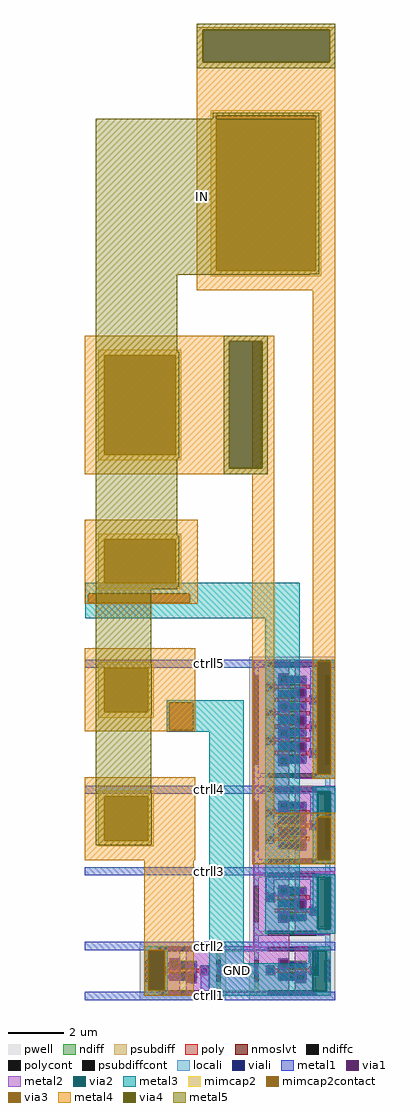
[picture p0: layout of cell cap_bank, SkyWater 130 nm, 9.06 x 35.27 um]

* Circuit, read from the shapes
.subckt cap_bank GND IN ctrll1 ctrll2 ctrll3 ctrll4 ctrll5
XM1 n1 ctrll1 GND GND sky130_fd_pr__nfet_01v8_lvt w=1 l=0.15
XM2 GND ctrll2 n2 GND sky130_fd_pr__nfet_01v8_lvt w=1 l=0.15
XM3 n3 ctrll3 GND GND sky130_fd_pr__nfet_01v8_lvt w=1 l=0.15 m=2
XM4 GND ctrll4 n4 GND sky130_fd_pr__nfet_01v8_lvt w=1 l=0.15 m=3
XM5 n5 ctrll5 GND GND sky130_fd_pr__nfet_01v8_lvt w=1 l=0.15 m=6
XC6 IN n1 sky130_fd_pr__cap_mim_m3_2 w=2 l=2
XC7 IN n2 sky130_fd_pr__cap_mim_m3_2 w=2 l=2
XC8 IN n3 sky130_fd_pr__cap_mim_m3_2 w=3 l=2
XC9 IN n4 sky130_fd_pr__cap_mim_m3_2 w=3 l=4
XC10 IN n5 sky130_fd_pr__cap_mim_m3_2 w=4 l=6
.ends

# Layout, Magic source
magic
tech sky130A
magscale 1 2
<< locali >>
rect 4525 -40 4560 105
rect 5040 -40 5075 105
rect 4525 -660 4560 -515
rect 5040 -655 5075 -510
rect 4525 -1155 4560 -1045
rect 4250 -1190 4560 -1155
rect 5040 -1185 5075 -1040
rect 4250 -1300 4560 -1285
rect 4250 -1340 4335 -1300
rect 4475 -1340 4560 -1300
rect 4250 -1355 4560 -1340
rect 4250 -1505 4560 -1470
<< viali >>
rect 4335 -1340 4475 -1300
<< metal1 >>
rect 3300 860 5110 920
rect 4610 300 4670 860
rect 4700 810 4780 820
rect 4700 750 4710 810
rect 4770 800 4780 810
rect 4770 750 4900 800
rect 4700 740 4780 750
rect 4820 710 4900 720
rect 4820 700 4830 710
rect 4700 650 4830 700
rect 4890 650 4900 710
rect 4820 640 4900 650
rect 4700 610 4780 620
rect 4700 550 4710 610
rect 4770 600 4780 610
rect 4770 560 4900 600
rect 4770 550 4780 560
rect 4700 540 4780 550
rect 4820 510 4900 520
rect 4700 460 4830 510
rect 4820 450 4830 460
rect 4890 450 4900 510
rect 4820 440 4900 450
rect 4700 420 4780 430
rect 4700 360 4710 420
rect 4770 410 4780 420
rect 4770 370 4900 410
rect 4770 360 4780 370
rect 4700 350 4780 360
rect 4820 320 4900 330
rect 4700 270 4830 320
rect 4820 260 4830 270
rect 4890 260 4900 320
rect 4820 250 4900 260
rect 4700 220 4780 230
rect 4700 160 4710 220
rect 4770 170 4900 220
rect 4930 210 4990 860
rect 4770 160 4780 170
rect 4700 150 4780 160
rect 3300 -50 5110 10
rect 4610 -410 4670 -50
rect 4700 -110 4780 -100
rect 4700 -170 4710 -110
rect 4770 -170 4780 -110
rect 4700 -180 4780 -170
rect 4820 -200 4900 -190
rect 4820 -260 4830 -200
rect 4890 -260 4900 -200
rect 4820 -270 4900 -260
rect 4700 -300 4780 -290
rect 4700 -360 4710 -300
rect 4770 -360 4780 -300
rect 4930 -310 4990 -50
rect 4700 -370 4780 -360
rect 4820 -390 4900 -380
rect 4820 -450 4830 -390
rect 4890 -450 4900 -390
rect 4820 -460 4900 -450
rect 3300 -640 5110 -580
rect 4610 -670 4990 -640
rect 4610 -830 4670 -670
rect 4700 -720 4780 -710
rect 4700 -780 4710 -720
rect 4770 -780 4780 -720
rect 4700 -790 4780 -780
rect 4820 -820 4900 -810
rect 4820 -880 4830 -820
rect 4890 -880 4900 -820
rect 4820 -890 4900 -880
rect 4700 -910 4780 -900
rect 4700 -970 4710 -910
rect 4770 -970 4780 -910
rect 4930 -930 4990 -670
rect 4700 -980 4780 -970
rect 3300 -1180 5110 -1120
rect 3910 -1250 3990 -1240
rect 3820 -1360 3880 -1290
rect 3910 -1310 3920 -1250
rect 3980 -1262 3990 -1250
rect 4700 -1250 4780 -1240
rect 3980 -1308 4110 -1262
rect 4320 -1290 4490 -1285
rect 3980 -1310 3990 -1308
rect 3910 -1320 3990 -1310
rect 4030 -1350 4110 -1340
rect 3910 -1396 4040 -1350
rect 4030 -1410 4040 -1396
rect 4100 -1410 4110 -1350
rect 4030 -1420 4110 -1410
rect 4140 -1480 4200 -1290
rect 4320 -1350 4335 -1290
rect 4475 -1350 4490 -1290
rect 4320 -1355 4490 -1350
rect 4610 -1360 4670 -1290
rect 4700 -1310 4710 -1250
rect 4770 -1310 4780 -1250
rect 4700 -1320 4780 -1310
rect 4820 -1350 4900 -1340
rect 4820 -1410 4830 -1350
rect 4890 -1410 4900 -1350
rect 4930 -1360 4990 -1180
rect 4820 -1420 4900 -1410
rect 3300 -1540 5110 -1480
<< via1 >>
rect 4710 750 4770 810
rect 4830 650 4890 710
rect 4710 550 4770 610
rect 4830 450 4890 510
rect 4710 360 4770 420
rect 4830 260 4890 320
rect 4710 160 4770 220
rect 4710 -170 4770 -110
rect 4830 -260 4890 -200
rect 4710 -360 4770 -300
rect 4830 -450 4890 -390
rect 4710 -780 4770 -720
rect 4830 -880 4890 -820
rect 4710 -970 4770 -910
rect 3920 -1310 3980 -1250
rect 4040 -1410 4100 -1350
rect 4335 -1300 4475 -1290
rect 4335 -1340 4475 -1300
rect 4335 -1350 4475 -1340
rect 4710 -1310 4770 -1250
rect 4830 -1410 4890 -1350
<< metal2 >>
rect 4520 810 4780 920
rect 4950 910 5110 920
rect 4520 750 4710 810
rect 4770 750 4780 810
rect 4520 610 4780 750
rect 4520 550 4710 610
rect 4770 550 4780 610
rect 4520 420 4780 550
rect 4520 360 4710 420
rect 4770 360 4780 420
rect 4520 220 4780 360
rect 4520 160 4710 220
rect 4770 160 4780 220
rect 4520 -110 4780 160
rect 4820 710 4980 910
rect 4820 650 4830 710
rect 4890 650 4980 710
rect 4820 510 4980 650
rect 4820 450 4830 510
rect 4890 450 4980 510
rect 4820 320 4980 450
rect 4820 260 4830 320
rect 4890 260 4980 320
rect 4820 90 4980 260
rect 5080 90 5110 910
rect 4820 60 5110 90
rect 4520 -170 4710 -110
rect 4770 -170 4780 -110
rect 4520 -300 4780 -170
rect 4520 -360 4710 -300
rect 4770 -360 4780 -300
rect 4520 -720 4780 -360
rect 4820 -30 5110 10
rect 4820 -200 4980 -30
rect 4820 -260 4830 -200
rect 4890 -260 4980 -200
rect 4820 -390 4980 -260
rect 4820 -450 4830 -390
rect 4890 -450 4980 -390
rect 4820 -530 4980 -450
rect 5080 -530 5110 -30
rect 4820 -550 5110 -530
rect 4820 -560 5080 -550
rect 4520 -780 4710 -720
rect 4770 -780 4780 -720
rect 4520 -910 4780 -780
rect 4520 -970 4710 -910
rect 4770 -970 4780 -910
rect 4520 -1150 4780 -970
rect 4820 -650 5110 -610
rect 4820 -820 4980 -650
rect 4820 -880 4830 -820
rect 4890 -880 4980 -820
rect 4820 -1030 4980 -880
rect 5080 -1030 5110 -650
rect 4820 -1060 5110 -1030
rect 4820 -1070 5080 -1060
rect 3730 -1180 3990 -1150
rect 3730 -1470 3760 -1180
rect 3880 -1250 3990 -1180
rect 3880 -1310 3920 -1250
rect 3980 -1310 3990 -1250
rect 3880 -1470 3990 -1310
rect 3730 -1510 3990 -1470
rect 4030 -1250 4780 -1150
rect 4030 -1290 4710 -1250
rect 4030 -1350 4335 -1290
rect 4475 -1310 4710 -1290
rect 4770 -1310 4780 -1250
rect 4475 -1350 4780 -1310
rect 4030 -1410 4040 -1350
rect 4100 -1410 4780 -1350
rect 4030 -1510 4780 -1410
rect 4820 -1180 5080 -1150
rect 4820 -1350 4950 -1180
rect 4820 -1410 4830 -1350
rect 4890 -1410 4950 -1350
rect 4820 -1480 4950 -1410
rect 5050 -1480 5080 -1180
rect 4820 -1510 5080 -1480
<< via2 >>
rect 4980 90 5080 910
rect 4980 -530 5080 -30
rect 4980 -1030 5080 -650
rect 3760 -1470 3880 -1180
rect 4950 -1480 5050 -1180
<< metal3 >>
rect 3305 1395 4855 1475
rect 3305 1330 3325 1395
rect 4060 1330 4855 1395
rect 3305 1220 4855 1330
rect 3895 610 4450 625
rect 3895 415 3910 610
rect 4085 415 4450 610
rect 3895 400 4450 415
rect 3730 -1180 3900 -1150
rect 3730 -1470 3760 -1180
rect 3880 -1470 3900 -1180
rect 3730 -1510 3900 -1470
rect 4200 -1275 4450 400
rect 4605 -880 4855 1220
rect 4950 910 5110 920
rect 4950 90 4980 910
rect 5080 90 5110 910
rect 4950 60 5110 90
rect 4950 -30 5110 0
rect 4950 -530 4980 -30
rect 5080 -530 5110 -30
rect 4950 -550 5110 -530
rect 4950 -650 5110 -630
rect 4950 -880 4980 -650
rect 4605 -1030 4980 -880
rect 5080 -1030 5110 -650
rect 4605 -1060 5110 -1030
rect 4920 -1180 5080 -1150
rect 4920 -1275 4950 -1180
rect 4200 -1480 4950 -1275
rect 5050 -1480 5080 -1180
rect 4200 -1510 5080 -1480
<< via3 >>
rect 3325 1330 4060 1395
rect 3910 415 4085 610
rect 3760 -1470 3880 -1180
rect 4980 90 5080 910
rect 4980 -530 5080 -220
<< metal4 >>
rect 3300 1330 3325 1380
rect 4060 1330 4115 1380
rect 3300 1325 4115 1330
rect 4510 -185 4670 3260
rect 4950 910 5110 4368
rect 4950 90 4980 910
rect 5080 90 5110 910
rect 4950 60 5110 90
rect 4510 -220 5110 -185
rect 3730 -1180 4090 -500
rect 4510 -530 4980 -220
rect 5080 -530 5110 -220
rect 4510 -560 5110 -530
rect 3730 -1470 3760 -1180
rect 3880 -1470 4090 -1180
rect 3730 -1510 4090 -1470
<< metal5 >>
rect 3380 3710 4990 4830
rect 3380 3700 4930 3710
rect 3380 1430 3970 3700
rect 3380 -420 3780 1430
use sky130_fd_pr__cap_mim_m3_2_WCTBV5  XC1
transform 1 0 3851 0 1 701
box -551 -300 250 300
use sky130_fd_pr__cap_mim_m3_2_WCTZRP  XC2
transform 1 0 3951 0 1 1631
box -651 -300 166 300
use sky130_fd_pr__cap_mim_m3_2_3ZFDVT  XC3
transform 1 0 3951 0 1 2761
box -651 -501 673 501
use sky130_fd_pr__cap_mim_m3_2_VCH7EQ  XC4
transform 0 1 4611 1 0 4541
box -951 -501 973 501
use sky130_fd_pr__cap_mim_m3_2_FJFAMD  XC6
transform 1 0 3851 0 1 -229
box -551 -300 250 300
use sky130_fd_pr__nfet_01v8_lvt_648S5X  XM1
transform 0 1 4010 -1 0 -1329
box -211 -310 211 310
use sky130_fd_pr__nfet_01v8_lvt_648S5X  XM2
transform 0 1 4800 -1 0 -1329
box -211 -310 211 310
use sky130_fd_pr__nfet_01v8_lvt_DJ7QE5  XM3
transform 0 -1 4800 1 0 -847
box -263 -310 263 310
use sky130_fd_pr__nfet_01v8_lvt_BX7S53  XM4
transform 0 1 4800 -1 0 -279
box -311 -310 311 310
use sky130_fd_pr__nfet_01v8_lvt_B6HS5D  XM5
transform 0 1 4800 -1 0 485
box -455 -310 455 310
<< labels >>
rlabel metal2 4100 -1510 4710 -1150 1 GND
rlabel metal5 3380 3700 4930 4830 1 IN
rlabel metal1 3300 -1540 5110 -1480 1 ctrll1
rlabel metal1 3300 -1180 5110 -1120 1 ctrll2
rlabel metal1 3300 -640 5110 -580 1 ctrll3
rlabel metal1 3300 -50 5110 10 1 ctrll4
rlabel metal1 3300 860 5110 920 1 ctrll5
<< end >>

# cell sky130_fd_pr__cap_mim_m3_2_WCTBV5: kit device sky130_fd_pr__cap_mim_m3_2, w 2.00 l 2.0 val 9.52 carea 2.00 cperi 0.19 nx 1 ny 1 dummy 0 square 0 lmin 2.00 wmin 2.00 lmax 30.0 wmax 30.0 dc 0 bconnect 1 tconnect 1 ccov 100

# cell sky130_fd_pr__cap_mim_m3_2_WCTZRP: kit device sky130_fd_pr__cap_mim_m3_2, w 3.0 l 2.0 val 13.9 carea 2.00 cperi 0.19 nx 1 ny 1 dummy 0 square 0 lmin 2.00 wmin 2.00 lmax 30.0 wmax 30.0 dc 0 bconnect 1 tconnect 1 ccov 100

# cell sky130_fd_pr__cap_mim_m3_2_3ZFDVT: kit device sky130_fd_pr__cap_mim_m3_2, w 3.0 l 4.0 val 26.66 carea 2.00 cperi 0.19 nx 1 ny 1 dummy 0 square 0 lmin 2.00 wmin 2.00 lmax 30.0 wmax 30.0 dc 0 bconnect 1 tconnect 1 ccov 100

# cell sky130_fd_pr__cap_mim_m3_2_VCH7EQ: kit device sky130_fd_pr__cap_mim_m3_2, w 6.0 l 4.0 val 51.8 carea 2.00 cperi 0.19 nx 1 ny 1 dummy 0 square 0 lmin 2.00 wmin 2.00 lmax 30.0 wmax 30.0 dc 0 bconnect 1 tconnect 1 ccov 100

# cell sky130_fd_pr__cap_mim_m3_2_FJFAMD: kit device sky130_fd_pr__cap_mim_m3_2, w 2.00 l 2.00 val 9.52 carea 2.00 cperi 0.19 nx 1 ny 1 dummy 0 square 0 lmin 2.00 wmin 2.00 lmax 30.0 wmax 30.0 dc 0 bconnect 1 tconnect 1 ccov 100

# cell sky130_fd_pr__nfet_01v8_lvt_648S5X: kit device sky130_fd_pr__nfet_01v8_lvt, w 1.0 l 0.15 m 1 nf 1 diffcov 100 polycov 100 guard 1 glc 1 grc 1 gtc 1 gbc 1 tbcov 100 rlcov 100 topc 1 botc 1 poverlap 0 doverlap 1 lmin 0.15 wmin 0.42 compatible {sky130_fd_pr__nfet_01v8 sky130_fd_pr__nfet_01v8_lvt sky130_fd_bs_flash__special_sonosfet_star sky130_fd_pr__nfet_g5v0d10v5 sky130_fd_pr__nfet_05v0_nvt sky130_fd_pr__nfet_03v3_nvt} full_metal 1 viasrc 100 viadrn 100 viagate 100 viagb 0 viagr 0 viagl 0 viagt 0

# cell sky130_fd_pr__nfet_01v8_lvt_DJ7QE5: kit device sky130_fd_pr__nfet_01v8_lvt, w 1.0 l 0.15 m 1 nf 2 diffcov 100 polycov 100 guard 1 glc 1 grc 1 gtc 1 gbc 1 tbcov 100 rlcov 100 topc 1 botc 1 poverlap 0 doverlap 1 lmin 0.15 wmin 0.42 compatible {sky130_fd_pr__nfet_01v8 sky130_fd_pr__nfet_01v8_lvt sky130_fd_bs_flash__special_sonosfet_star sky130_fd_pr__nfet_g5v0d10v5 sky130_fd_pr__nfet_05v0_nvt sky130_fd_pr__nfet_03v3_nvt} full_metal 1 viasrc 100 viadrn 100 viagate 100 viagb 0 viagr 0 viagl 0 viagt 0

# cell sky130_fd_pr__nfet_01v8_lvt_BX7S53: kit device sky130_fd_pr__nfet_01v8_lvt, w 1.0 l 0.15 m 1 nf 3 diffcov 100 polycov 100 guard 1 glc 1 grc 1 gtc 1 gbc 1 tbcov 100 rlcov 100 topc 1 botc 1 poverlap 0 doverlap 1 lmin 0.15 wmin 0.42 compatible {sky130_fd_pr__nfet_01v8 sky130_fd_pr__nfet_01v8_lvt sky130_fd_bs_flash__special_sonosfet_star sky130_fd_pr__nfet_g5v0d10v5 sky130_fd_pr__nfet_05v0_nvt sky130_fd_pr__nfet_03v3_nvt} full_metal 1 viasrc 100 viadrn 100 viagate 100 viagb 0 viagr 0 viagl 0 viagt 0

# cell sky130_fd_pr__nfet_01v8_lvt_B6HS5D: kit device sky130_fd_pr__nfet_01v8_lvt, w 1.0 l 0.15 m 1 nf 6 diffcov 100 polycov 100 guard 1 glc 1 grc 1 gtc 1 gbc 1 tbcov 100 rlcov 100 topc 1 botc 1 poverlap 0 doverlap 1 lmin 0.15 wmin 0.42 compatible {sky130_fd_pr__nfet_01v8 sky130_fd_pr__nfet_01v8_lvt sky130_fd_bs_flash__special_sonosfet_star sky130_fd_pr__nfet_g5v0d10v5 sky130_fd_pr__nfet_05v0_nvt sky130_fd_pr__nfet_03v3_nvt} full_metal 1 viasrc 100 viadrn 100 viagate 100 viagb 0 viagr 0 viagl 0 viagt 0
